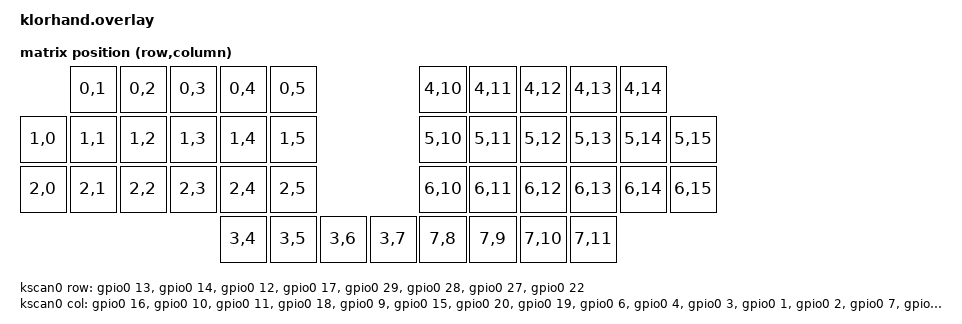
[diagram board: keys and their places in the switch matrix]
#include <dt-bindings/zmk/matrix_transform.h>

/ {
    chosen {
        zmk,kscan = &kscan0;
        zmk,matrix_transform = &default_transform;
    };

    kscan0: kscan_0 {
        compatible = "zmk,kscan-gpio-matrix";
        diode-direction = "col2row";
        wakeup-source;

        col-gpios
            = <&gpio0 16 GPIO_ACTIVE_HIGH>
            , <&gpio0 10 GPIO_ACTIVE_HIGH>
            , <&gpio0 11 GPIO_ACTIVE_HIGH>
            , <&gpio0 18 GPIO_ACTIVE_HIGH>
            , <&gpio0 9 GPIO_ACTIVE_HIGH>
            , <&gpio0 15 GPIO_ACTIVE_HIGH>
            , <&gpio0 20 GPIO_ACTIVE_HIGH>
            , <&gpio0 19 GPIO_ACTIVE_HIGH>
            , <&gpio0 6 GPIO_ACTIVE_HIGH>
            , <&gpio0 4 GPIO_ACTIVE_HIGH>
            , <&gpio0 3 GPIO_ACTIVE_HIGH>
            , <&gpio0 1 GPIO_ACTIVE_HIGH>
            , <&gpio0 2 GPIO_ACTIVE_HIGH>
            , <&gpio0 7 GPIO_ACTIVE_HIGH>
            , <&gpio0 8 GPIO_ACTIVE_HIGH>
            , <&gpio0 23 GPIO_ACTIVE_HIGH>
            ;

        row-gpios
            = <&gpio0 13 (GPIO_ACTIVE_HIGH | GPIO_PULL_DOWN)>
            , <&gpio0 14 (GPIO_ACTIVE_HIGH | GPIO_PULL_DOWN)>
            , <&gpio0 12 (GPIO_ACTIVE_HIGH | GPIO_PULL_DOWN)>
            , <&gpio0 17 (GPIO_ACTIVE_HIGH | GPIO_PULL_DOWN)>
            , <&gpio0 29 (GPIO_ACTIVE_HIGH | GPIO_PULL_DOWN)>
            , <&gpio0 28 (GPIO_ACTIVE_HIGH | GPIO_PULL_DOWN)>
            , <&gpio0 27 (GPIO_ACTIVE_HIGH | GPIO_PULL_DOWN)>
            , <&gpio0 22 (GPIO_ACTIVE_HIGH | GPIO_PULL_DOWN)>
            ;
    };
};
//   GPIOS  4         5         6         7         8         9        10        11        20        21        22        26        27        28        29        23
//               ┌─────────┬─────────┬─────────┬─────────┬─────────┐                                       ┌─────────┬─────────┬─────────┬─────────┬─────────┐
// 0             │    Q    │    W    │    F    │    P    │    G    │                                       │    J    │    L    │    U    │    Y    │    ;    │                16
//     ┌─────────┼─────────┼─────────┼─────────┼─────────┼─────────┤                                       ├─────────┼─────────┼─────────┼─────────┼─────────┼─────────┐
// 1   │   TAB   │    A    │    R    │    S    │    T    │    D    │                                       │    H    │    N    │    E    │    I    │    O    │    "    │      17
//     ├─────────┼─────────┼─────────┼─────────┼─────────┼─────────┤                                       ├─────────┼─────────┼─────────┼─────────┼─────────┼─────────┤
// 2   │   DEL   │    Z    │    X    │    C    │    V    │    B    │                                       │    K    │    M    │    ,    │    .    │    /    │    \    │      18
//     └─────────┴─────────┴─────────┴─────────┼─────────┼─────────┼─────────┬─────────┬┬────────┬─────────┼─────────┼─────────┼─────────┴─────────┴─────────┴─────────┘
// 3                                           │  CTRL   │  LOWER  │  SPACE  │   ALT   ││CMD/WIN │  ENTER  │  RAISE  │  BSPCE  │                                              19
//                                             └─────────┴─────────┴─────────┴─────────┘└────────┴─────────┴─────────┴─────────┘


//   GPIOS  16        10       11        18         9         15        20        19        6         4         3         1         2         7        8         23
//               ┌─────────┬─────────┬─────────┬─────────┬─────────┐                                       ┌─────────┬─────────┬─────────┬─────────┬─────────┐
// 13            │    Q    │    W    │    F    │    P    │    G    │                                       │    J    │    L    │    U    │    Y    │    ;    │                29
//     ┌─────────┼─────────┼─────────┼─────────┼─────────┼─────────┤                                       ├─────────┼─────────┼─────────┼─────────┼─────────┼─────────┐
// 14  │   TAB   │    A    │    R    │    S    │    T    │    D    │                                       │    H    │    N    │    E    │    I    │    O    │    "    │      28
//     ├─────────┼─────────┼─────────┼─────────┼─────────┼─────────┤                                       ├─────────┼─────────┼─────────┼─────────┼─────────┼─────────┤
// 12  │   DEL   │    Z    │    X    │    C    │    V    │    B    │                                       │    K    │    M    │    ,    │    .    │    /    │    \    │      27
//     └─────────┴─────────┴─────────┴─────────┼─────────┼─────────┼─────────┬─────────┬┬────────┬─────────┼─────────┼─────────┼─────────┴─────────┴─────────┴─────────┘
// 17                                          │  CTRL   │  LOWER  │  SPACE  │   ALT   ││CMD/WIN │  ENTER  │  RAISE  │  BSPCE  │                                              22
//                                             └─────────┴─────────┴─────────┴─────────┘└────────┴─────────┴─────────┴─────────┘


/ {
    /* define kscan node with label `kscan0`... */

    default_transform: matrix_transform {
        compatible = "zmk,matrix-transform";
        rows = <8>;
        columns = <16>;

//         0         1         2         3         4         5         6         7
//              ┌─────────┬─────────┬─────────┬─────────┬─────────┐
// 0            │    Q    │    W    │    F    │    P    │    G    │
//    ┌─────────┼─────────┼─────────┼─────────┼─────────┼─────────┤
// 1  │   TAB   │    A    │    R    │    S    │    T    │    D    │
//    ├─────────┼─────────┼─────────┼─────────┼─────────┼─────────┤
// 2  │   DEL   │    Z    │    X    │    C    │    V    │    B    │
//    └─────────┴─────────┴─────────┴─────────┼─────────┼─────────┼─────────┬─────────┐
// 3                                          │  CTRL   │  LOWER  │  SPACE  │   ALT   │
//                                            └─────────┴─────────┴─────────┴─────────┘
//        8         9        10        11        12        13        14        15
//                       ┌─────────┬─────────┬─────────┬─────────┬─────────┐
// 4                     │    J    │    L    │    U    │    Y    │    ;    │   
//                       ├─────────┼─────────┼─────────┼─────────┼─────────┼─────────┐									   
// 5                     │    H    │    N    │    E    │    I    │    O    │    "    │									   
//                       ├─────────┼─────────┼─────────┼─────────┼─────────┼─────────┤									   
// 6                     │    K    │    M    │    ,    │    .    │    /    │    \    │									   
//    ┌────────┬─────────┼─────────┼─────────┼─────────┴─────────┴─────────┴─────────┘									   
// 7  │CMD/WIN │  ENTER  │  RAISE  │  BSPCE  │  									   
//    └────────┴─────────┴─────────┴─────────┘									   
	   
        map = <
                     RC(0,1)  RC(0,2)  RC(0,3)  RC(0,4)  RC(0,5)									   RC(4,10) RC(4,11) RC(4,12) RC(4,13) RC(4,14)
            RC(1,0)  RC(1,1)  RC(1,2)  RC(1,3)  RC(1,4)  RC(1,5)									   RC(5,10) RC(5,11) RC(5,12) RC(5,13) RC(5,14) RC(5,15)
            RC(2,0)  RC(2,1)  RC(2,2)  RC(2,3)  RC(2,4)  RC(2,5)									   RC(6,10) RC(6,11) RC(6,12) RC(6,13) RC(6,14) RC(6,15)
											    RC(3,4)  RC(3,5)  RC(3,6)  RC(3,7)   RC(7,8)  RC(7,9)  RC(7,10) RC(7,11)
        >;
    };

    /* potentially other overlay nodes... */
};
